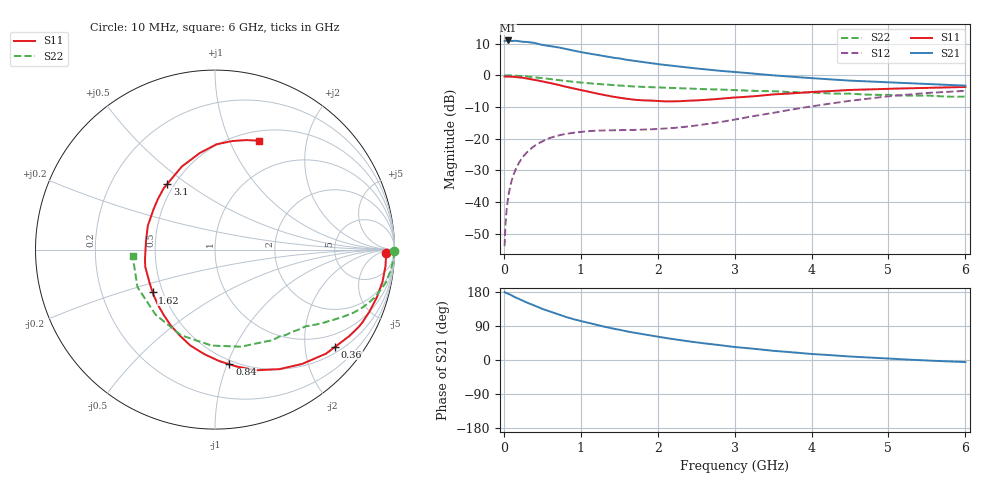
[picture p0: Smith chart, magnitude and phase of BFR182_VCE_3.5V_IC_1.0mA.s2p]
! Infineon Technologies  Discrete & RF Semiconductors
! BFR182
! VCE =  3.5 V,  IC =  1.0 mA
! Common Emitter S-Parameters:  Nov 2015
# GHz  S  MA  R  50
!  f  S11  S21  S12  S22
! GHz  MAG  ANG  MAG  ANG  MAG  ANG  MAG  ANG
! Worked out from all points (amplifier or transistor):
!   210 points, 10 MHz to 6 GHz, reference 50 ohm
!   highest |S21| = 11.0 dB at 50 MHz (marker M1)
!   |S21| within 3 dB of that: start of sweep to 867.5 MHz
!   unconditionally stable (mu >= 1): 1.775 GHz to 3.269 GHz
!   at 185 MHz: K = 0.13, MSG = 19.5 dB, |S12| = -28.2 dB
!   at 1.52 GHz: K = 0.87, MSG = 11.3 dB, |S12| = -17.3 dB
!   at 6 GHz: K = 0.94, MSG = 0.8 dB, |S12| = -4.9 dB
!   S11 on the Smith chart (normalised r, x): 10 MHz: 35, -15; 360 MHz: 0.64, -2.70; 840 MHz: 0.47, -1.02; 1.62 GHz: 0.44, -0.26; 3.1 GHz: 0.46, +0.42; 6 GHz: 0.61, +1.29
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0.01  0.9535 -1.2  3.457 179.3  0.002 91.1  0.9974 -0.5
0.02  0.9537 -2.2  3.512 178.0  0.0041 87.5  0.9979 -0.9
0.025  0.9536 -2.8  3.517 177.5  0.0051 87.8  0.9977 -1.1
0.05  0.9543 -5.5  3.547 175.3  0.0103 88.3  0.9968 -2.3
0.095  0.9503 -10.4  3.478 171.4  0.0203 83.6  0.9925 -4.2
0.16  0.9372 -17.4  3.496 164.4  0.0339 78.7  0.9841 -7.2
0.3  0.8898 -32.8  3.364 151.5  0.0607 70.4  0.9572 -12.7
0.36  0.8613 -38.9  3.285 146.8  0.0705 66.5  0.9407 -15.0
0.4  0.848 -43.1  3.245 143.5  0.0771 64.5  0.9306 -16.5
0.48  0.8088 -50.6  3.055 136.7  0.0878 60.2  0.9072 -19.0
0.6  0.756 -61.8  2.892 127.7  0.1026 54.8  0.8729 -22.4
0.7  0.7109 -71.0  2.774 120.6  0.1114 50.8  0.8428 -24.9
0.84  0.6444 -82.8  2.552 111.6  0.1204 46.4  0.8044 -27.8
1.02  0.5781 -97.4  2.301 101.7  0.1282 42.0  0.7642 -30.9
1.3  0.49 -120.0  2.002 88.2  0.1347 38.2  0.7165 -35.0
1.62  0.4218 -145.5  1.74 74.7  0.1365 38.2  0.6752 -39.0
2.02  0.3914 -174.3  1.492 60.8  0.1424 42.3  0.6425 -44.2
2.6  0.4082 148.1  1.252 44.0  0.1678 51.8  0.6027 -53.7
3.1  0.4523 126.0  1.102 32.5  0.2103 56.2  0.5756 -64.4
4.1  0.5516 96.9  0.884 14.7  0.3368 52.8  0.5259 -95.7
5.1  0.616 79.6  0.765 2.6  0.4766 38.7  0.4832 -136.6
6  0.6536 68.2  0.686 -5.5  0.5687 22.5  0.46 -175.6
